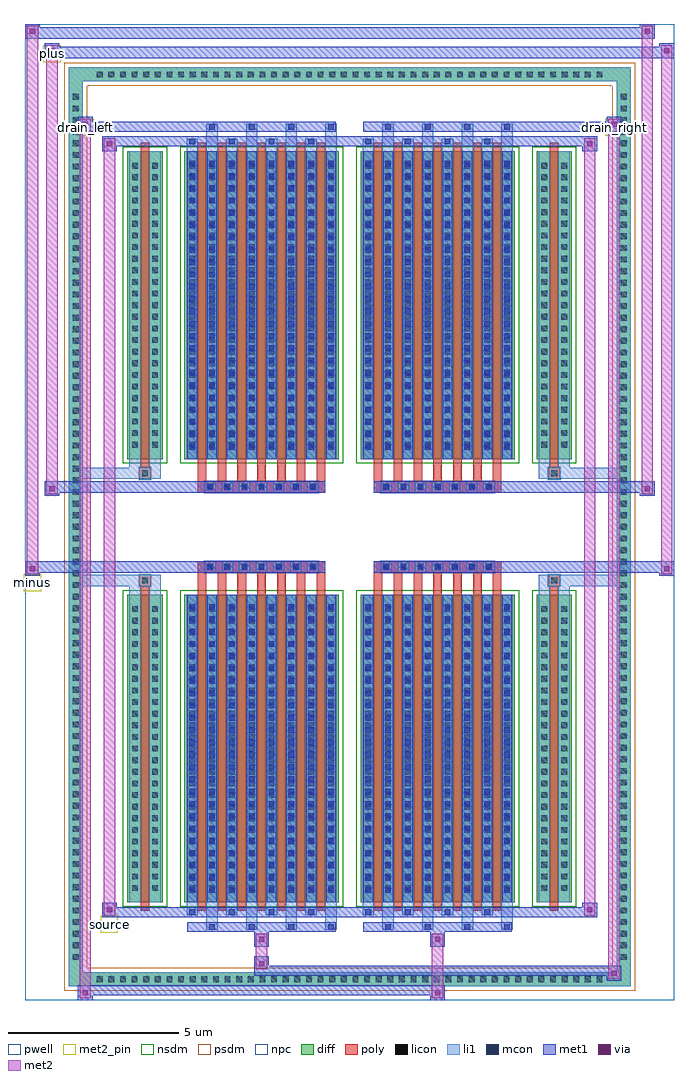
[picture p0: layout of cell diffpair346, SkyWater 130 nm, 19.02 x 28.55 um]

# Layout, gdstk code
import gdstk
lib = gdstk.Library(unit=1e-6, precision=5e-09)
def R(c, l, rs):  # rectangles x0, y0, x1, y1
    for r in rs: c.add(gdstk.rectangle(r[:2], r[2:], *l))
def A(c, l, x, y, w, h, nx, ny, dx, dy):  # array of equal rectangles
    R(c, l, [(x+i*dx, y+j*dy, x+i*dx+w, y+j*dy+h) for i in range(nx) for j in range(ny)])
def P(c, l, *ps):  # polygons
    for p in ps: c.add(gdstk.Polygon(p, *l))
pwell = (64, 44)
diff = (65, 20)
poly = (66, 20)
licon = (66, 44)
li1 = (67, 20)
mcon = (67, 44)
met1 = (68, 20)
via = (68, 44)
met2_pin = (69, 16)
met2 = (69, 20)
nsdm = (93, 44)
psdm = (94, 20)
npc = (95, 20)

diffpair346 = lib.new_cell('diffpair346')
R(diffpair346, pwell, [(-9.49,-13.84,9.49,14.71), (-6.81,-12.03,-0.01,-0.805), (0.01,-12.03,6.81,-0.805), (-6.81,0.805,-0.01,12.03), (0.01,0.805,6.81,12.03)])
A(diffpair346, diff, -7.515, -13.44, 0.41, 0.41, 44, 2, 0.34, 26.47)
A(diffpair346, diff, -8.22, -12.785, 0.41, 0.41, 1, 75, 0, 0.34)
A(diffpair346, diff, 7.81, -12.785, 0.41, 0.41, 1, 75, 0, 0.34)
R(diffpair346, diff, [(-7.515,-13.44,7.515,-13.03), (-8.22,-12.785,-7.81,12.785), (7.81,-12.785,8.22,12.785), (-6.5,-10.985,-5.47,-1.985), (-4.83,-10.985,-0.32,-1.985), (0.32,-10.985,4.83,-1.985), (5.47,-10.985,6.5,-1.985), (-6.5,1.985,-5.47,10.985), (-4.83,1.985,-0.32,10.985), (0.32,1.985,4.83,10.985), (5.47,1.985,6.5,10.985), (-7.515,13.03,7.515,13.44)])
P(diffpair346, diff, [(8.22,13.44),(-8.22,13.44),(-8.22,-13.03),(-7.81,-13.03),(-7.81,13.03),(7.81,13.03),(7.81,-13.03),(-7.81,-13.03),(-8.22,-13.03),(-8.22,-13.44),(8.22,-13.44)])
A(diffpair346, poly, -4.44, -11.235, 0.25, 9.5, 7, 2, 0.58, 12.97)
A(diffpair346, poly, 0.71, -11.235, 0.25, 9.5, 7, 2, 0.58, 12.97)
A(diffpair346, poly, -4.44, -1.735, 0.25, 0.4, 7, 2, 0.58, 3.07)
A(diffpair346, poly, 0.71, -1.735, 0.25, 0.4, 7, 2, 0.58, 3.07)
A(diffpair346, poly, -4.24, -1.335, 0.33, 0.33, 7, 2, 0.5, 2.34)
A(diffpair346, poly, 0.91, -1.335, 0.33, 0.33, 7, 2, 0.5, 2.34)
R(diffpair346, poly, [(-6.11,-11.235,-5.86,-1.735), (5.86,-11.235,6.11,-1.735), (-6.15,-1.735,-5.82,-1.405), (-6.15,-1.735,-5.82,-1.405), (5.82,-1.735,6.15,-1.405), (5.82,-1.735,6.15,-1.405), (-4.44,-1.335,-0.71,-1.005), (0.71,-1.335,4.44,-1.005), (-4.44,1.005,-0.71,1.335), (0.71,1.005,4.44,1.335), (-6.15,1.405,-5.82,1.735), (-6.15,1.405,-5.82,1.735), (5.82,1.405,6.15,1.735), (5.82,1.405,6.15,1.735), (-6.11,1.735,-5.86,11.235), (5.86,1.735,6.11,11.235)])
A(diffpair346, licon, -7.395, -13.32, 0.17, 0.17, 44, 2, 0.34, 26.47)
A(diffpair346, licon, -8.1, -12.665, 0.17, 0.17, 1, 75, 0, 0.34)
A(diffpair346, licon, 7.93, -12.665, 0.17, 0.17, 1, 75, 0, 0.34)
A(diffpair346, licon, -6.36, -10.65, 0.17, 0.17, 1, 25, 0, 0.34)
A(diffpair346, licon, -5.78, -10.65, 0.17, 0.17, 1, 25, 0, 0.34)
A(diffpair346, licon, -4.69, -10.65, 0.17, 0.17, 8, 25, 0.58, 0.34)
A(diffpair346, licon, 0.46, -10.65, 0.17, 0.17, 8, 25, 0.58, 0.34)
A(diffpair346, licon, 5.61, -10.65, 0.17, 0.17, 1, 25, 0, 0.34)
A(diffpair346, licon, 6.19, -10.65, 0.17, 0.17, 1, 25, 0, 0.34)
A(diffpair346, licon, -4.16, -1.255, 0.17, 0.17, 7, 2, 0.5, 2.34)
A(diffpair346, licon, 0.99, -1.255, 0.17, 0.17, 7, 2, 0.5, 2.34)
A(diffpair346, licon, -6.36, 2.32, 0.17, 0.17, 1, 25, 0, 0.34)
A(diffpair346, licon, -5.78, 2.32, 0.17, 0.17, 1, 25, 0, 0.34)
A(diffpair346, licon, -4.69, 2.32, 0.17, 0.17, 8, 25, 0.58, 0.34)
A(diffpair346, licon, 0.46, 2.32, 0.17, 0.17, 8, 25, 0.58, 0.34)
A(diffpair346, licon, 5.61, 2.32, 0.17, 0.17, 1, 25, 0, 0.34)
A(diffpair346, licon, 6.19, 2.32, 0.17, 0.17, 1, 25, 0, 0.34)
R(diffpair346, licon, [(-6.07,-1.655,-5.9,-1.485), (5.9,-1.655,6.07,-1.485), (-6.07,1.485,-5.9,1.655), (5.9,1.485,6.07,1.655)])
A(diffpair346, li1, -7.475, -13.4, 0.33, 0.33, 44, 2, 0.34, 26.47)
A(diffpair346, li1, -8.18, -12.745, 0.33, 0.33, 1, 75, 0, 0.34)
A(diffpair346, li1, 7.85, -12.745, 0.33, 0.33, 1, 75, 0, 0.34)
A(diffpair346, li1, -4.19, -11.79, 0.33, 0.805, 4, 2, 1.16, 22.775)
A(diffpair346, li1, -4.11, -11.79, 0.17, 0.17, 4, 2, 1.16, 23.41)
A(diffpair346, li1, 0.96, -11.79, 0.33, 0.805, 4, 2, 1.16, 22.775)
A(diffpair346, li1, 1.04, -11.79, 0.17, 0.17, 4, 2, 1.16, 23.41)
A(diffpair346, li1, -4.77, -11.36, 0.33, 0.375, 4, 2, 1.16, 22.345)
A(diffpair346, li1, -4.69, -11.36, 0.17, 0.17, 4, 2, 1.16, 22.55)
A(diffpair346, li1, 0.38, -11.36, 0.33, 0.375, 4, 2, 1.16, 22.345)
A(diffpair346, li1, 0.46, -11.36, 0.17, 0.17, 4, 2, 1.16, 22.55)
A(diffpair346, li1, -4.77, -10.985, 0.33, 9, 8, 2, 0.58, 12.97)
A(diffpair346, li1, 0.38, -10.985, 0.33, 9, 8, 2, 0.58, 12.97)
A(diffpair346, li1, -6.44, -10.73, 0.33, 0.33, 1, 25, 0, 0.34)
A(diffpair346, li1, -5.86, -10.73, 0.33, 0.33, 1, 25, 0, 0.34)
A(diffpair346, li1, -4.77, -10.73, 0.33, 0.33, 8, 25, 0.58, 0.34)
A(diffpair346, li1, 0.38, -10.73, 0.33, 0.33, 8, 25, 0.58, 0.34)
A(diffpair346, li1, 5.53, -10.73, 0.33, 0.33, 1, 25, 0, 0.34)
A(diffpair346, li1, 6.11, -10.73, 0.33, 0.33, 1, 25, 0, 0.34)
A(diffpair346, li1, -4.69, -10.71, 0.17, 0.17, 8, 24, 0.58, 0.36)
A(diffpair346, li1, -4.69, -10.71, 0.17, 8.45, 8, 2, 0.58, 12.97)
A(diffpair346, li1, 0.46, -10.71, 0.17, 0.17, 8, 24, 0.58, 0.36)
A(diffpair346, li1, 0.46, -10.71, 0.17, 8.45, 8, 2, 0.58, 12.97)
A(diffpair346, li1, -4.24, -1.335, 0.33, 0.33, 7, 2, 0.5, 2.34)
A(diffpair346, li1, 0.91, -1.335, 0.33, 0.33, 7, 2, 0.5, 2.34)
A(diffpair346, li1, -6.44, 2.24, 0.33, 0.33, 1, 25, 0, 0.34)
A(diffpair346, li1, -5.86, 2.24, 0.33, 0.33, 1, 25, 0, 0.34)
A(diffpair346, li1, -4.77, 2.24, 0.33, 0.33, 8, 25, 0.58, 0.34)
A(diffpair346, li1, 0.38, 2.24, 0.33, 0.33, 8, 25, 0.58, 0.34)
A(diffpair346, li1, 5.53, 2.24, 0.33, 0.33, 1, 25, 0, 0.34)
A(diffpair346, li1, 6.11, 2.24, 0.33, 0.33, 1, 25, 0, 0.34)
A(diffpair346, li1, -4.69, 2.26, 0.17, 0.17, 8, 24, 0.58, 0.36)
A(diffpair346, li1, 0.46, 2.26, 0.17, 0.17, 8, 24, 0.58, 0.36)
R(diffpair346, li1, [(-8.22,-13.44,-7.81,-13.03), (-8.22,-13.44,-7.81,-13.03), (-7.81,-13.44,7.81,-13.03), (7.81,-13.44,8.22,-13.03), (7.81,-13.44,8.22,-13.03), (-8.22,-13.03,-7.81,13.03), (7.81,-13.03,8.22,13.03), (-6.44,-10.985,-6.11,-1.985), (-5.86,-10.985,-5.53,-1.985), (5.53,-10.985,5.86,-1.985), (6.11,-10.985,6.44,-1.985), (-6.44,-1.985,-6.11,-1.405), (-5.86,-1.985,-5.53,-1.405), (5.53,-1.985,5.86,-1.405), (6.11,-1.985,6.44,-1.405), (-8.22,-1.735,-6.15,-1.405), (-6.44,-1.735,-6.15,-1.405), (-6.15,-1.735,-5.82,-1.405), (-5.82,-1.735,-5.53,-1.405), (5.53,-1.735,5.82,-1.405), (5.82,-1.735,6.15,-1.405), (5.82,-1.735,8.22,-1.405), (6.15,-1.735,6.44,-1.405), (-8.22,1.405,-6.15,1.735), (-6.44,1.405,-6.15,1.735), (-6.44,1.405,-6.11,1.985), (-6.15,1.405,-5.82,1.735), (-5.86,1.405,-5.53,1.985), (-5.82,1.405,-5.53,1.735), (5.53,1.405,5.82,1.735), (5.53,1.405,5.86,1.985), (5.82,1.405,6.15,1.735), (5.82,1.405,8.22,1.735), (6.11,1.405,6.44,1.985), (6.15,1.405,6.44,1.735), (-6.44,1.985,-6.11,10.985), (-5.86,1.985,-5.53,10.985), (5.53,1.985,5.86,10.985), (6.11,1.985,6.44,10.985), (-8.22,13.03,-7.81,13.44), (-8.22,13.03,-7.81,13.44), (-7.81,13.03,7.81,13.44), (7.81,13.03,8.22,13.44), (7.81,13.03,8.22,13.44)])
A(diffpair346, mcon, -4.11, -11.79, 0.17, 0.17, 4, 2, 1.16, 23.41)
A(diffpair346, mcon, 1.04, -11.79, 0.17, 0.17, 4, 2, 1.16, 23.41)
A(diffpair346, mcon, -4.69, -11.36, 0.17, 0.17, 4, 2, 1.16, 22.55)
A(diffpair346, mcon, 0.46, -11.36, 0.17, 0.17, 4, 2, 1.16, 22.55)
A(diffpair346, mcon, -4.69, -10.71, 0.17, 0.17, 8, 24, 0.58, 0.36)
A(diffpair346, mcon, 0.46, -10.71, 0.17, 0.17, 8, 24, 0.58, 0.36)
A(diffpair346, mcon, -4.16, -1.255, 0.17, 0.17, 7, 2, 0.5, 2.34)
A(diffpair346, mcon, 0.99, -1.255, 0.17, 0.17, 7, 2, 0.5, 2.34)
A(diffpair346, mcon, -4.69, 2.26, 0.17, 0.17, 8, 24, 0.58, 0.36)
A(diffpair346, mcon, 0.46, 2.26, 0.17, 0.17, 8, 24, 0.58, 0.36)
A(diffpair346, met1, -4.17, -11.85, 0.29, 0.29, 4, 2, 1.16, 23.41)
A(diffpair346, met1, 0.98, -11.85, 0.29, 0.29, 4, 2, 1.16, 23.41)
A(diffpair346, met1, -4.75, -11.42, 0.29, 0.29, 4, 2, 1.16, 22.55)
A(diffpair346, met1, 0.4, -11.42, 0.29, 0.29, 4, 2, 1.16, 22.55)
A(diffpair346, met1, -4.75, -10.985, 0.29, 9, 8, 2, 0.58, 12.97)
A(diffpair346, met1, 0.4, -10.985, 0.29, 9, 8, 2, 0.58, 12.97)
A(diffpair346, met1, -4.75, -10.77, 0.29, 0.29, 8, 24, 0.58, 0.36)
A(diffpair346, met1, 0.4, -10.77, 0.29, 0.29, 8, 24, 0.58, 0.36)
A(diffpair346, met1, -4.22, -1.315, 0.29, 0.29, 7, 2, 0.5, 2.34)
A(diffpair346, met1, 0.93, -1.315, 0.29, 0.29, 7, 2, 0.5, 2.34)
A(diffpair346, met1, -4.75, 2.2, 0.29, 0.29, 8, 24, 0.58, 0.36)
A(diffpair346, met1, 0.4, 2.2, 0.29, 0.29, 8, 24, 0.58, 0.36)
R(diffpair346, met1, [(-7.95,-13.84,-7.52,-13.41), (2.36,-13.84,2.79,-13.41), (-7.95,-13.7,2.79,-13.41), (7.52,-13.27,7.95,-12.84), (-2.79,-13.13,7.95,-12.84), (-2.79,-12.99,-2.36,-12.56), (-2.79,-12.28,-2.36,-11.85), (2.36,-12.28,2.79,-11.85), (-4.75,-11.85,-0.4,-11.56), (0.4,-11.85,4.75,-11.56), (-7.24,-11.42,-6.81,-10.99), (-7.24,-11.42,-4.75,-11.13), (-4.75,-11.42,-0.4,-11.13), (-0.4,-11.42,0.4,-11.13), (0.4,-11.42,4.75,-11.13), (4.75,-11.42,7.24,-11.13), (6.81,-11.42,7.24,-10.99), (-9.49,-1.435,-9.06,-1.005), (9.06,-1.435,9.49,-1.005), (-9.49,-1.335,-0.71,-1.005), (-4.44,-1.335,-0.71,-1.005), (0.71,-1.335,4.44,-1.005), (0.71,-1.335,9.49,-1.005), (-8.92,0.905,-8.49,1.335), (8.49,0.905,8.92,1.335), (-8.92,1.005,-4.44,1.335), (-4.44,1.005,-0.71,1.335), (0.71,1.005,4.44,1.335), (4.44,1.005,8.92,1.335), (-7.24,10.99,-6.81,11.42), (6.81,10.99,7.24,11.42), (-7.24,11.13,-4.75,11.42), (-4.75,11.13,-0.4,11.42), (-0.4,11.13,0.4,11.42), (0.4,11.13,4.75,11.42), (4.75,11.13,7.24,11.42), (-7.95,11.56,-7.52,11.99), (-7.95,11.56,-4.75,11.85), (-4.75,11.56,-0.4,11.85), (0.4,11.56,4.75,11.85), (4.75,11.56,7.95,11.85), (7.52,11.56,7.95,11.99), (-8.92,13.71,-8.49,14.14), (-8.92,13.71,-6.81,14.04), (-6.81,13.71,6.81,14.04), (6.81,13.71,9.49,14.04), (9.06,13.71,9.49,14.14), (-9.49,14.28,-9.06,14.71), (-9.49,14.28,-6.81,14.61), (-6.81,14.28,6.81,14.61), (6.81,14.28,8.92,14.61), (8.49,14.28,8.92,14.71)])
R(diffpair346, via, [(-7.81,-13.7,-7.66,-13.55), (2.5,-13.7,2.65,-13.55), (7.66,-13.13,7.81,-12.98), (-2.65,-12.85,-2.5,-12.7), (-2.65,-12.14,-2.5,-11.99), (2.5,-12.14,2.65,-11.99), (-7.1,-11.28,-6.95,-11.13), (6.95,-11.28,7.1,-11.13), (-9.35,-1.295,-9.2,-1.145), (9.2,-1.295,9.35,-1.145), (-8.78,1.045,-8.63,1.195), (8.63,1.045,8.78,1.195), (-7.1,11.13,-6.95,11.28), (6.95,11.13,7.1,11.28), (-7.81,11.7,-7.66,11.85), (7.66,11.7,7.81,11.85), (-8.78,13.85,-8.63,14), (9.2,13.85,9.35,14), (-9.35,14.42,-9.2,14.57), (8.63,14.42,8.78,14.57)])
R(diffpair346, met2_pin, [(-7.275,-11.87,-6.775,-11.37), (-9.525,-1.885,-9.025,-1.385), (-7.985,11.44,-7.485,11.94), (7.485,11.44,7.985,11.94), (-8.955,13.59,-8.455,14.09)])
R(diffpair346, met2, [(-7.9,-13.79,-7.57,-13.46), (-7.9,-13.79,-7.57,11.94), (2.41,-13.79,2.74,-13.46), (2.41,-13.46,2.74,-12.23), (7.57,-13.22,7.9,-12.89), (7.57,-13.22,7.9,11.94), (-2.74,-12.94,-2.41,-12.61), (-2.74,-12.61,-2.41,-12.23), (-2.74,-12.23,-2.41,-11.9), (2.41,-12.23,2.74,-11.9), (-7.19,-11.37,-6.86,-11.04), (-7.19,-11.37,-6.86,11.37), (6.86,-11.37,7.19,-11.04), (6.86,-11.37,7.19,11.37), (-9.44,-1.385,-9.11,-1.055), (-9.44,-1.385,-9.11,14.66), (9.11,-1.385,9.44,-1.055), (9.11,-1.385,9.44,14.09), (-8.87,0.955,-8.54,1.285), (-8.87,0.955,-8.54,14.09), (8.54,0.955,8.87,1.285), (8.54,0.955,8.87,14.66), (-7.19,11.04,-6.86,11.37), (6.86,11.04,7.19,11.37), (-7.9,11.61,-7.57,11.94), (7.57,11.61,7.9,11.94), (-8.87,13.76,-8.54,14.09), (9.11,13.76,9.44,14.09), (-9.44,14.33,-9.11,14.66), (8.54,14.33,8.87,14.66)])
P(diffpair346, met2, [(9.44,-1.385),(9.44,-1.385),(9.44,-1.055),(9.44,-1.055)],
  [(9.44,13.76),(9.44,13.76),(9.44,14.09),(9.44,14.09)],
  [(-9.11,-1.385),(-9.11,-1.385),(-9.11,-1.055),(-9.11,-1.055)],
  [(-9.11,14.33),(-9.11,14.33),(-9.11,14.66),(-9.11,14.66)],
  [(8.87,0.955),(8.87,0.955),(8.87,1.285),(8.87,1.285)],
  [(8.87,14.33),(8.87,14.33),(8.87,14.66),(8.87,14.66)],
  [(-8.54,0.955),(-8.54,0.955),(-8.54,1.285),(-8.54,1.285)],
  [(-8.54,13.76),(-8.54,13.76),(-8.54,14.09),(-8.54,14.09)],
  [(-7.57,-13.79),(-7.57,-13.79),(-7.57,-13.46),(-7.57,-13.46)],
  [(-7.57,11.61),(-7.57,11.61),(-7.57,11.94),(-7.57,11.94)],
  [(7.9,-13.22),(7.9,-13.22),(7.9,-12.89),(7.9,-12.89)],
  [(7.9,11.61),(7.9,11.61),(7.9,11.94),(7.9,11.94)],
  [(-6.86,-11.37),(-6.86,-11.37),(-6.86,-11.04),(-6.86,-11.04)],
  [(-6.86,11.04),(-6.86,11.04),(-6.86,11.37),(-6.86,11.37)],
  [(7.19,-11.37),(7.19,-11.37),(7.19,-11.04),(7.19,-11.04)],
  [(7.19,11.04),(7.19,11.04),(7.19,11.37),(7.19,11.37)])
R(diffpair346, nsdm, [(-6.63,-11.115,-5.34,-1.855), (-4.96,-11.115,-0.19,-1.855), (0.19,-11.115,4.96,-1.855), (5.34,-11.115,6.63,-1.855), (-6.63,1.855,-5.34,11.115), (-4.96,1.855,-0.19,11.115), (0.19,1.855,4.96,11.115), (5.34,1.855,6.63,11.115)])
P(diffpair346, psdm, [(8.35,13.57),(-8.35,13.57),(-8.35,-12.9),(-7.68,-12.9),(-7.68,12.9),(7.68,12.9),(7.68,-12.9),(-7.68,-12.9),(-8.35,-12.9),(-8.35,-13.57),(8.35,-13.57)])
A(diffpair346, npc, -4.26, -1.355, 0.37, 0.37, 7, 2, 0.5, 2.34)
A(diffpair346, npc, 0.89, -1.355, 0.37, 0.37, 7, 2, 0.5, 2.34)
R(diffpair346, npc, [(-6.17,-1.755,-5.8,-1.385), (5.8,-1.755,6.17,-1.385), (-4.26,-1.355,-3.39,-0.985), (-4.26,-1.355,-3.39,-0.985), (-3.76,-1.355,-2.89,-0.985), (-3.76,-1.355,-2.89,-0.985), (-3.26,-1.355,-2.39,-0.985), (-3.26,-1.355,-2.39,-0.985), (-2.76,-1.355,-1.89,-0.985), (-2.76,-1.355,-1.89,-0.985), (-2.26,-1.355,-1.39,-0.985), (-2.26,-1.355,-1.39,-0.985), (-1.76,-1.355,-0.89,-0.985), (-1.76,-1.355,-0.89,-0.985), (0.89,-1.355,1.76,-0.985), (0.89,-1.355,1.76,-0.985), (1.39,-1.355,2.26,-0.985), (1.39,-1.355,2.26,-0.985), (1.89,-1.355,2.76,-0.985), (1.89,-1.355,2.76,-0.985), (2.39,-1.355,3.26,-0.985), (2.39,-1.355,3.26,-0.985), (2.89,-1.355,3.76,-0.985), (2.89,-1.355,3.76,-0.985), (3.39,-1.355,4.26,-0.985), (3.39,-1.355,4.26,-0.985), (-4.26,0.985,-3.39,1.355), (-4.26,0.985,-3.39,1.355), (-3.76,0.985,-2.89,1.355), (-3.76,0.985,-2.89,1.355), (-3.26,0.985,-2.39,1.355), (-3.26,0.985,-2.39,1.355), (-2.76,0.985,-1.89,1.355), (-2.76,0.985,-1.89,1.355), (-2.26,0.985,-1.39,1.355), (-2.26,0.985,-1.39,1.355), (-1.76,0.985,-0.89,1.355), (-1.76,0.985,-0.89,1.355), (0.89,0.985,1.76,1.355), (0.89,0.985,1.76,1.355), (1.39,0.985,2.26,1.355), (1.39,0.985,2.26,1.355), (1.89,0.985,2.76,1.355), (1.89,0.985,2.76,1.355), (2.39,0.985,3.26,1.355), (2.39,0.985,3.26,1.355), (2.89,0.985,3.76,1.355), (2.89,0.985,3.76,1.355), (3.39,0.985,4.26,1.355), (3.39,0.985,4.26,1.355), (-6.17,1.385,-5.8,1.755), (5.8,1.385,6.17,1.755)])
diffpair346.add(gdstk.Label('minus', (-9.275,-1.635), layer=69, texttype=5))
diffpair346.add(gdstk.Label('drain_right', (7.735,11.69), layer=69, texttype=5))
diffpair346.add(gdstk.Label('drain_left', (-7.735,11.69), layer=69, texttype=5))
diffpair346.add(gdstk.Label('source', (-7.025,-11.62), layer=69, texttype=5))
diffpair346.add(gdstk.Label('plus', (-8.705,13.84), layer=69, texttype=5))

lib.write_gds('diffpair346.gds')
